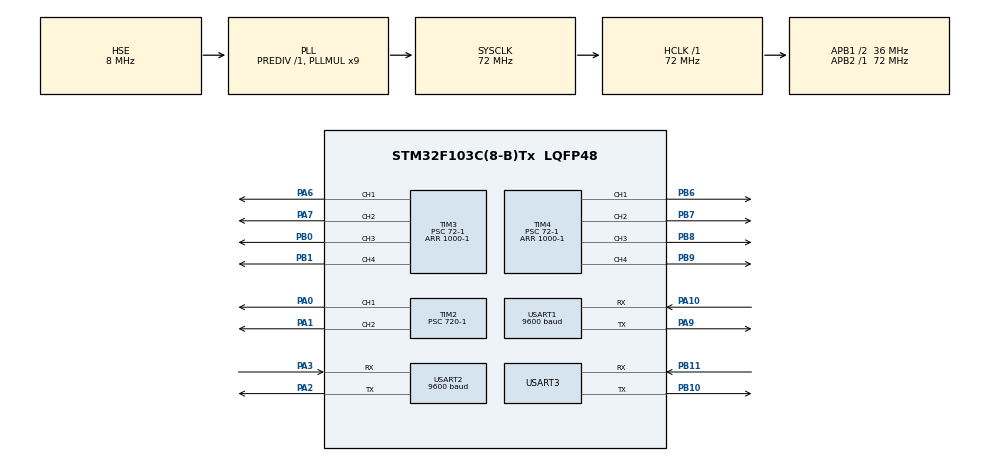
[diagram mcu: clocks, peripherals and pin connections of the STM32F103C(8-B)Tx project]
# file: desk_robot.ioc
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Mcu.Family=STM32F1
Mcu.Name=STM32F103C(8-B)Tx
Mcu.Package=LQFP48
NVIC.PriorityGroup=NVIC_PRIORITYGROUP_4
NVIC.USART1_IRQn=true\:0\:0\:false\:false\:true\:true\:true\:true
NVIC.USART2_IRQn=true\:0\:0\:false\:false\:true\:true\:true\:true
PA0-WKUP.Signal=S_TIM2_CH1_ETR
PA1.Signal=S_TIM2_CH2
PA10.Mode=Asynchronous
PA10.Signal=USART1_RX
PA13.Mode=Serial_Wire
PA13.Signal=SYS_JTMS-SWDIO
PA14.Mode=Serial_Wire
PA14.Signal=SYS_JTCK-SWCLK
PA2.Mode=Asynchronous
PA2.Signal=USART2_TX
PA3.Mode=Asynchronous
PA3.Signal=USART2_RX
PA6.Signal=S_TIM3_CH1
PA7.Signal=S_TIM3_CH2
PA9.Mode=Asynchronous
PA9.Signal=USART1_TX
PB0.Signal=S_TIM3_CH3
PB1.Signal=S_TIM3_CH4
PB10.Mode=Asynchronous
PB10.Signal=USART3_TX
PB11.Mode=Asynchronous
PB11.Signal=USART3_RX
PB6.Signal=S_TIM4_CH1
PB7.Signal=S_TIM4_CH2
PB8.Signal=S_TIM4_CH3
PB9.Signal=S_TIM4_CH4
PD0-OSC_IN.Mode=HSE-External-Oscillator
PD0-OSC_IN.Signal=RCC_OSC_IN
PD1-OSC_OUT.Mode=HSE-External-Oscillator
PD1-OSC_OUT.Signal=RCC_OSC_OUT
ProjectManager.HeapSize=0x200
ProjectManager.StackSize=0x400
ProjectManager.TargetToolchain=MDK-ARM V5.32
RCC.AHBFreq_Value=72000000
RCC.APB1CLKDivider=RCC_HCLK_DIV2
RCC.APB1Freq_Value=36000000
RCC.APB1TimFreq_Value=72000000
RCC.APB2Freq_Value=72000000
RCC.APB2TimFreq_Value=72000000
RCC.HCLKFreq_Value=72000000
RCC.PLLMUL=RCC_PLL_MUL9
RCC.PLLSourceVirtual=RCC_PLLSOURCE_HSE
RCC.SYSCLKFreq_VALUE=72000000
RCC.SYSCLKSource=RCC_SYSCLKSOURCE_PLLCLK
RCC.USBFreq_Value=72000000
SH.S_TIM2_CH1_ETR.0=TIM2_CH1,PWM Generation1 CH1
SH.S_TIM2_CH2.0=TIM2_CH2,PWM Generation2 CH2
SH.S_TIM3_CH1.0=TIM3_CH1,PWM Generation1 CH1
SH.S_TIM3_CH2.0=TIM3_CH2,PWM Generation2 CH2
SH.S_TIM3_CH3.0=TIM3_CH3,PWM Generation3 CH3
SH.S_TIM3_CH4.0=TIM3_CH4,PWM Generation4 CH4
SH.S_TIM4_CH1.0=TIM4_CH1,PWM Generation1 CH1
SH.S_TIM4_CH2.0=TIM4_CH2,PWM Generation2 CH2
SH.S_TIM4_CH3.0=TIM4_CH3,PWM Generation3 CH3
SH.S_TIM4_CH4.0=TIM4_CH4,PWM Generation4 CH4
TIM2.AutoReloadPreload=TIM_AUTORELOAD_PRELOAD_ENABLE
TIM2.Channel-PWM\ Generation1\ CH1=TIM_CHANNEL_1
TIM2.Channel-PWM\ Generation2\ CH2=TIM_CHANNEL_2
TIM2.Period=2000-1
TIM2.Prescaler=720-1
TIM2.Pulse-PWM\ Generation1\ CH1=100
TIM2.Pulse-PWM\ Generation2\ CH2=50
TIM3.AutoReloadPreload=TIM_AUTORELOAD_PRELOAD_ENABLE
TIM3.Channel-PWM\ Generation1\ CH1=TIM_CHANNEL_1
TIM3.Channel-PWM\ Generation2\ CH2=TIM_CHANNEL_2
TIM3.Channel-PWM\ Generation3\ CH3=TIM_CHANNEL_3
TIM3.Channel-PWM\ Generation4\ CH4=TIM_CHANNEL_4
TIM3.Period=1000-1
TIM3.Prescaler=72-1
TIM4.AutoReloadPreload=TIM_AUTORELOAD_PRELOAD_ENABLE
TIM4.Channel-PWM\ Generation1\ CH1=TIM_CHANNEL_1
TIM4.Channel-PWM\ Generation2\ CH2=TIM_CHANNEL_2
TIM4.Channel-PWM\ Generation3\ CH3=TIM_CHANNEL_3
TIM4.Channel-PWM\ Generation4\ CH4=TIM_CHANNEL_4
TIM4.Period=1000-1
TIM4.Prescaler=72-1
USART1.BaudRate=9600
USART1.VirtualMode=VM_ASYNC
USART2.BaudRate=9600
USART2.VirtualMode=VM_ASYNC
USART3.VirtualMode=VM_ASYNC
VP_TIM2_VS_ClockSourceINT.Mode=Internal
VP_TIM3_VS_ClockSourceINT.Mode=Internal
VP_TIM4_VS_ClockSourceINT.Mode=Internal
board=custom

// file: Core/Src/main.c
/* USER CODE BEGIN Header */
/**
  ******************************************************************************
  * @file           : main.c
  * @brief          : Main program body
  ******************************************************************************
  * @attention
  *
  * Copyright (c) 2023 STMicroelectronics.
  * All rights reserved.
  *
  * This software is licensed under terms that can be found in the LICENSE file
  * in the root directory of this software component.
  * If no LICENSE file comes with this software, it is provided AS-IS.
  *
  ******************************************************************************
  */
/* USER CODE END Header */
#include "main.h"
#include "tim.h"
#include "usart.h"
#include "gpio.h"

/* USER CODE BEGIN Includes */
#include "string.h"
#include "CarMotor.h"
#include "Transmit2Pi.h"
#include "ArmCamera.h"
/* USER CODE END Includes */

void SystemClock_Config(void);

/* USER CODE BEGIN 0 */
/**
 * @brief  运行主函数
 * @param  无
 * @retval 无
 */
void run(void)
{
	HAL_Delay(300);
	// 判断当前用户选择的功能，并给树莓派发送
	switch(Page_temp)
	{
		case PageFeatures:
			u1_printf("page:0\r\n");
			break;
		case PagePcCtl:
			u1_printf("page:1\r\n");
			break;
		case PageTalk:
			u1_printf("page:2\r\n");
			break;
		case PageWatch:
			u1_printf("page:3\r\n");
			break;
		case PageDoctor:
			u1_printf("page:4\r\n");
			break;
	}
}

/* USER CODE END 0 */

int main(void)
{

  /* MCU Configuration--------------------------------------------------------*/

  /* Reset of all peripherals, Initializes the Flash interface and the Systick. */
  HAL_Init();

  /* Configure the system clock */
  SystemClock_Config();

  /* Initialize all configured peripherals */
  MX_GPIO_Init();
  MX_TIM2_Init();
  MX_TIM3_Init();
  MX_USART1_UART_Init();
  MX_USART2_UART_Init();
  MX_TIM4_Init();
  MX_USART3_UART_Init();
  /* USER CODE BEGIN 2 */
	my_uart_init();
	CarMotor_init();
	ArmCam_init();

	uint8_t i=0;
	HAL_Delay(1000);
	while(i<30)	//等待30s后发送进入选择界面命令
	{
		HAL_Delay(1000);
		i++;
	}
	u2_printf("page features\xff\xff\xff");
  /* USER CODE END 2 */

  /* Infinite loop */
    while (1)
    {
			run();
    }
}

void SystemClock_Config(void)
{
  RCC_OscInitTypeDef RCC_OscInitStruct = {0};
  RCC_ClkInitTypeDef RCC_ClkInitStruct = {0};

  /** Initializes the RCC Oscillators according to the specified parameters
  * in the RCC_OscInitTypeDef structure.
  */
  RCC_OscInitStruct.OscillatorType = RCC_OSCILLATORTYPE_HSE;
  RCC_OscInitStruct.HSEState = RCC_HSE_ON;
  RCC_OscInitStruct.HSEPredivValue = RCC_HSE_PREDIV_DIV1;
  RCC_OscInitStruct.HSIState = RCC_HSI_ON;
  RCC_OscInitStruct.PLL.PLLState = RCC_PLL_ON;
  RCC_OscInitStruct.PLL.PLLSource = RCC_PLLSOURCE_HSE;
  RCC_OscInitStruct.PLL.PLLMUL = RCC_PLL_MUL9;
  if (HAL_RCC_OscConfig(&RCC_OscInitStruct) != HAL_OK)
  {
    Error_Handler();
  }

  /** Initializes the CPU, AHB and APB buses clocks
  */
  RCC_ClkInitStruct.ClockType = RCC_CLOCKTYPE_HCLK|RCC_CLOCKTYPE_SYSCLK
                              |RCC_CLOCKTYPE_PCLK1|RCC_CLOCKTYPE_PCLK2;
  RCC_ClkInitStruct.SYSCLKSource = RCC_SYSCLKSOURCE_PLLCLK;
  RCC_ClkInitStruct.AHBCLKDivider = RCC_SYSCLK_DIV1;
  RCC_ClkInitStruct.APB1CLKDivider = RCC_HCLK_DIV2;
  RCC_ClkInitStruct.APB2CLKDivider = RCC_HCLK_DIV1;

  if (HAL_RCC_ClockConfig(&RCC_ClkInitStruct, FLASH_LATENCY_2) != HAL_OK)
  {
    Error_Handler();
  }
}

void Error_Handler(void)
{
    __disable_irq();
    while (1)
    {
    }
}
